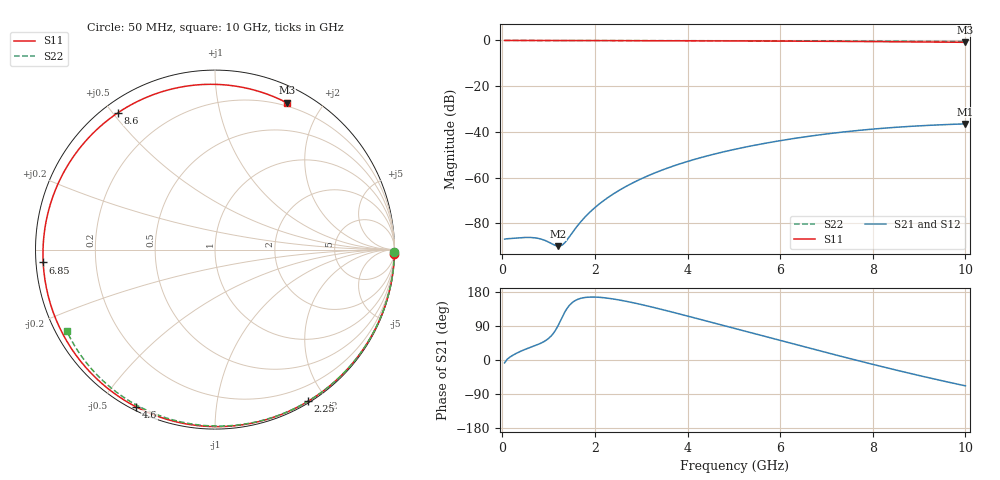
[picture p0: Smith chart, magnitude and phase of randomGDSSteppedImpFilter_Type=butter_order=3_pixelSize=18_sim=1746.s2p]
! freq	dB(S11)	phase(S11)	dB(S12)	phase(S12)
!  dB(S21)	phase(S21)	dB(S22)	phase(S22)
!S-par simulation data
#  GHz  S  DB  R 50
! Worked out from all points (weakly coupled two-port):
!   200 points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, 50 MHz to 10 GHz, reference 50 ohm
!   highest |S21| = -36.50 dB at 10 GHz (marker M1); lowest = -90.0 dB at 1.2 GHz (marker M2)
!   lowest |S11| = -0.8 dB at 10 GHz (marker M3), VSWR 21.37, Z = 8.29 + j79.4 ohm
!   |S11| at or under -10 dB: nowhere
!   |S22| runs from -0.5 to 0.0 dB; largest |S21 - S12| = 0
!   S11 on the Smith chart (normalised r, x): 50 MHz: 0, -86; 2.25 GHz: 0.02, -1.79; 4.6 GHz: 0.01, -0.62; 6.85 GHz: 0.02, -0.04; 8.6 GHz: 0.04, +0.52; 10 GHz: 0.17, +1.59
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0.05  -0.00 -1.3  -86.94 -7.6  -86.94 -7.6  -0.00 -0.9
0.6  -0.02 -15.9  -86.21 33.1  -86.21 33.1  -0.01 -10.4
1.2  -0.04 -31.6  -90.03 89.6  -90.03 89.6  -0.03 -20.6
1.65  -0.05 -43.2  -80.43 161.1  -80.43 161.1  -0.04 -28.2
1.75  -0.06 -45.8  -78.07 164.3  -78.07 164.3  -0.04 -29.9
2  -0.07 -52.2  -73.15 166.1  -73.15 166.1  -0.04 -34.1
2.25  -0.07 -58.5  -69.19 163.6  -69.19 163.6  -0.05 -38.2
2.75  -0.09 -71.0  -63.03 153.1  -63.03 153.1  -0.06 -46.4
3.4  -0.11 -87.1  -57.11 134.7  -57.11 134.7  -0.08 -56.8
4  -0.14 -101.9  -52.95 116.0  -52.95 116.0  -0.09 -66.2
4.6  -0.17 -116.6  -49.61 96.6  -49.61 96.6  -0.11 -75.3
5.05  -0.20 -127.7  -47.51 82.0  -47.51 82.0  -0.13 -82.0
5.95  -0.27 -150.8  -44.03 53.0  -44.03 53.0  -0.17 -95.1
6.7  -0.34 -171.4  -41.72 29.1  -41.72 29.1  -0.21 -105.7
6.85  -0.36 -175.7  -41.31 24.4  -41.31 24.4  -0.22 -107.8
7.6  -0.45 161.1  -39.55 0.8  -39.55 0.8  -0.27 -118.1
8.35  -0.55 134.8  -38.22 -22.0  -38.22 -22.0  -0.33 -128.3
8.6  -0.59 125.2  -37.86 -29.4  -37.86 -29.4  -0.35 -131.7
9  -0.65 109.0  -37.37 -41.0  -37.37 -41.0  -0.39 -137.2
9.35  -0.70 93.9  -37.01 -50.8  -37.01 -50.8  -0.43 -142.0
9.7  -0.76 78.0  -36.72 -60.3  -36.72 -60.3  -0.48 -146.9
10  -0.81 64.0  -36.50 -68.2  -36.50 -68.2  -0.52 -151.2
